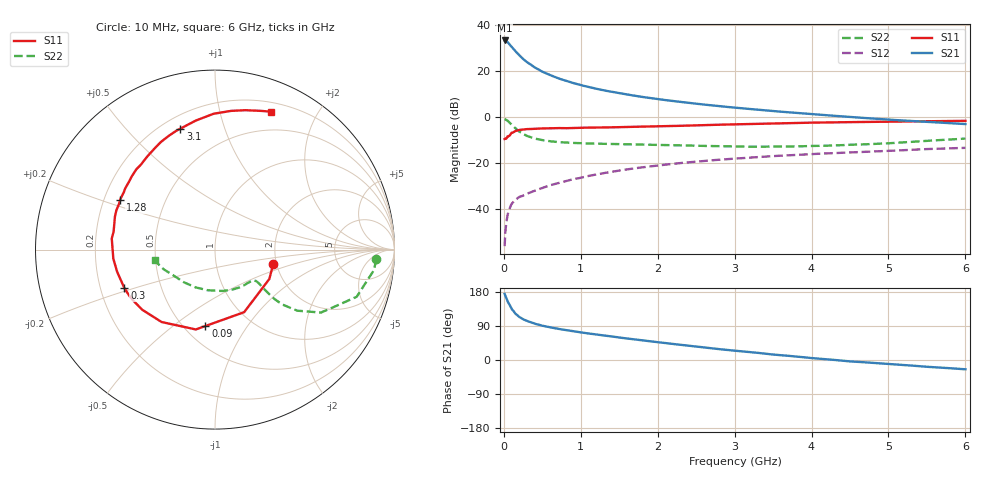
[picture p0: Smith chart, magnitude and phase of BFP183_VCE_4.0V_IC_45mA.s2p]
! Infineon Technologies  Discrete & RF Semiconductors
! BFP183
! VCE = 4.0 V,  IC =  45 mA
! Common Emitter S-Parameters:  Jan 2016
# GHz  S  MA  R  50
!  f  S11  S21  S12  S22
! GHz  MAG  ANG  MAG  ANG  MAG  ANG  MAG  ANG
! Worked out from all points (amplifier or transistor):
!   210 points, 10 MHz to 6 GHz, reference 50 ohm
!   highest |S21| = 33.2 dB at 10 MHz (marker M1)
!   |S21| within 3 dB of that: start of sweep to 108.2 MHz
!   unconditionally stable (mu >= 1): start of sweep to 12.33 MHz; 446.5 MHz to end of sweep
!   at 185 MHz: K = 0.61, MSG = 31.2 dB, |S12| = -35.0 dB
!   at 1.52 GHz: K = 1.26, MAG = 13.6 dB, |S12| = -23.1 dB
!   at 6 GHz: K = 1.01, MAG = 4.6 dB, |S12| = -13.3 dB
!   S11 on the Smith chart (normalised r, x): 10 MHz: 1.92, -0.35; 90 MHz: 0.63, -0.66; 300 MHz: 0.30, -0.19; 1.28 GHz: 0.27, +0.23; 3.1 GHz: 0.27, +0.72; 6 GHz: 0.29, +1.44
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0.01  0.334 -14.1  45.62 174.4  0.0016 72.9  0.9012 -3.4
0.02  0.3442 -28.4  45.28 169.3  0.0033 75.9  0.8917 -7.5
0.05  0.3846 -65.0  41.97 153.9  0.0078 71.1  0.8321 -18.4
0.09  0.4289 -97.1  34.84 139.4  0.012 59.6  0.7132 -27.9
0.1  0.4575 -103.5  33.49 134.9  0.0131 57.9  0.6871 -30.7
0.15  0.5013 -126.4  26.78 122.2  0.0161 52.7  0.5708 -36.6
0.195  0.5219 -139.0  22.24 114.6  0.0183 51.8  0.4951 -38.8
0.2  0.5257 -140.3  21.76 113.6  0.0186 51.7  0.4867 -39.1
0.24  0.5369 -148.1  18.81 108.8  0.0196 52.1  0.4422 -39.6
0.3  0.5485 -157.0  15.51 102.9  0.0218 52.8  0.3911 -39.4
0.4  0.5589 -167.1  11.93 95.7  0.0253 54.0  0.3429 -38.6
0.5  0.5688 -174.9  9.608 90.5  0.0291 55.0  0.3159 -37.8
0.6  0.571 179.3  8.136 86.2  0.0333 57.9  0.2988 -37.4
0.7  0.5785 173.9  6.957 82.4  0.0368 59.3  0.2881 -37.4
0.8  0.5738 169.9  6.143 79.1  0.0407 59.4  0.2814 -37.8
1.02  0.5879 161.0  4.823 72.3  0.0494 60.3  0.2704 -39.7
1.28  0.5965 152.3  3.847 65.2  0.0603 59.4  0.2638 -43.5
2.02  0.6288 130.8  2.421 46.6  0.09 54.3  0.2502 -57.9
3.1  0.7009 106.0  1.548 22.7  0.1292 44.3  0.2293 -87.7
4.1  0.7601 89.1  1.126 3.5  0.1607 34.5  0.238 -120.6
5.1  0.7976 76.7  0.86 -11.9  0.1884 26.3  0.2767 -149.8
6  0.8288 68.0  0.706 -24.5  0.2155 17.6  0.3422 -169.9
